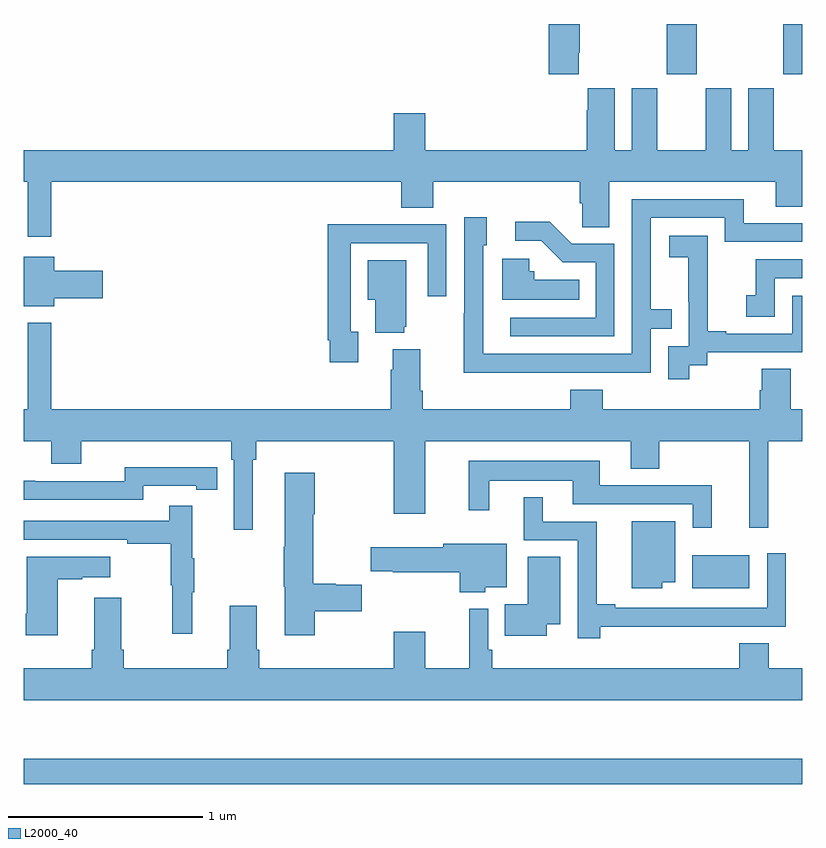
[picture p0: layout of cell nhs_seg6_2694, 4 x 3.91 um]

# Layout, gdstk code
import gdstk
lib = gdstk.Library(unit=1e-6, precision=1e-09)
def R(c, l, rs):  # rectangles x0, y0, x1, y1
    for r in rs: c.add(gdstk.rectangle(r[:2], r[2:], *l))
def P(c, l, *ps):  # polygons
    for p in ps: c.add(gdstk.Polygon(p, *l))
L2000_40 = (2000, 40)

nhs_seg6_2694 = lib.new_cell('nhs_seg6_2694')
R(nhs_seg6_2694, L2000_40, [(271,925.594,275,925.723), (274.436,926.6,274.729,926.77), (274.303,929.241,274.458,929.5), (274.903,929.241,275,929.5)])
P(nhs_seg6_2694, L2000_40, [(273.853,929.353),(273.858,929.353),(273.858,929.5),(273.698,929.5),(273.698,929.241),(273.853,929.241)],
  [(271.141,928.688),(272.939,928.688),(272.939,928.555),(273.104,928.555),(273.104,928.688),(273.857,928.688),(273.857,928.579),(273.87,928.579),(273.87,928.456),(274.009,928.456),(274.009,928.688),(274.865,928.688),(274.865,928.561),(275,928.561),(275,928.852),(274.855,928.852),(274.855,929.17),(274.724,929.17),(274.724,928.852),(274.636,928.852),(274.636,929.17),(274.505,929.17),(274.505,928.852),(274.255,928.852),(274.255,929.17),(274.124,929.17),(274.124,928.852),(274.036,928.852),(274.036,929.17),(273.899,929.17),(273.899,929.057),(273.893,929.057),(273.893,928.852),(273.064,928.852),(273.064,929.041),(272.9,929.041),(272.9,928.852),(271,928.852),(271,928.688),(271.019,928.688),(271.019,928.407),(271.141,928.407)],
  [(273.725,927.708),(274.221,927.708),(274.221,927.933),(274.331,927.933),(274.331,928.034),(274.221,928.034),(274.221,928.503),(274.602,928.503),(274.602,928.38),(275,928.38),(275,928.476),(274.699,928.476),(274.699,928.599),(274.125,928.599),(274.125,927.804),(273.361,927.804),(273.361,928.016),(273.36,928.016),(273.36,928.362),(273.379,928.362),(273.379,928.507),(273.264,928.507),(273.264,928.013),(273.262,928.013),(273.262,927.707),(273.725,927.707)],
  [(274.035,928.371),(273.816,928.371),(273.703,928.484),(273.525,928.484),(273.525,928.386),(273.659,928.386),(273.77,928.275),(273.939,928.275),(273.939,927.99),(273.501,927.99),(273.501,927.894),(274.035,927.894)],
  [(272.719,927.918),(272.679,927.918),(272.679,928.374),(273.075,928.374),(273.075,928.101),(273.171,928.101),(273.171,928.47),(272.855,928.47),(272.855,928.472),(272.563,928.472),(272.563,927.874),(272.571,927.874),(272.571,927.762),(272.719,927.762)],
  [(274.42,927.745),(274.512,927.745),(274.512,927.813),(275,927.813),(275,928.104),(274.95,928.104),(274.95,927.909),(274.609,927.909),(274.609,927.922),(274.514,927.922),(274.514,928.205),(274.515,928.205),(274.515,928.411),(274.317,928.411),(274.317,928.301),(274.415,928.301),(274.415,928.073),(274.416,928.073),(274.416,927.843),(274.311,927.843),(274.311,927.675),(274.42,927.675)],
  [(271.156,928.091),(271.405,928.091),(271.405,928.233),(271.156,928.233),(271.156,928.303),(271,928.303),(271,928.049),(271.156,928.049)],
  [(273.854,928.186),(273.624,928.186),(273.624,928.23),(273.597,928.23),(273.597,928.294),(273.458,928.294),(273.458,928.082),(273.854,928.082)],
  [(274.86,928.194),(275,928.194),(275,928.29),(274.762,928.29),(274.762,928.105),(274.713,928.105),(274.713,927.996),(274.86,927.996)],
  [(272.954,927.945),(272.965,927.945),(272.965,928.285),(272.768,928.285),(272.768,928.082),(272.807,928.082),(272.807,927.914),(272.954,927.914)],
  [(271.141,927.964),(271.019,927.964),(271.019,927.52),(271,927.52),(271,927.356),(271.142,927.356),(271.142,927.239),(271.294,927.239),(271.294,927.356),(272.066,927.356),(272.066,927.26),(272.079,927.26),(272.079,926.901),(272.176,926.901),(272.176,927.26),(272.195,927.26),(272.195,927.356),(272.9,927.356),(272.9,926.982),(273.064,926.982),(273.064,927.356),(274.118,927.356),(274.118,927.214),(274.266,927.214),(274.266,927.356),(274.727,927.356),(274.727,926.91),(274.826,926.91),(274.826,927.356),(275,927.356),(275,927.52),(274.941,927.52),(274.941,927.728),(274.793,927.728),(274.793,927.618),(274.781,927.618),(274.781,927.52),(273.974,927.52),(273.974,927.619),(273.809,927.619),(273.809,927.52),(273.05,927.52),(273.05,927.616),(273.037,927.616),(273.037,927.829),(272.897,927.829),(272.897,927.722),(272.885,927.722),(272.885,927.52),(271.141,927.52)],
  [(274.535,927.129),(273.961,927.129),(273.961,927.256),(273.287,927.256),(273.287,927),(273.391,927),(273.391,927.152),(273.821,927.152),(273.821,927.033),(274.437,927.033),(274.437,926.91),(274.535,926.91)],
  [(271.614,927.126),(271.886,927.126),(271.886,927.106),(271.994,927.106),(271.994,927.222),(271.886,927.222),(271.886,927.223),(271.518,927.223),(271.518,927.15),(271.058,927.15),(271.058,927.152),(271,927.152),(271,927.054),(271.614,927.054)],
  [(272.496,926.482),(272.737,926.482),(272.737,926.617),(272.604,926.617),(272.604,926.624),(272.488,926.624),(272.488,926.98),(272.496,926.98),(272.496,927.193),(272.342,927.193),(272.342,926.813),(272.335,926.813),(272.335,926.607),(272.342,926.607),(272.342,926.358),(272.496,926.358)],
  [(273.962,926.402),(274.592,926.402),(274.592,926.403),(274.917,926.403),(274.917,926.779),(274.821,926.779),(274.821,926.499),(274.039,926.499),(274.039,926.519),(273.944,926.519),(273.944,926.943),(273.667,926.943),(273.667,927.067),(273.569,927.067),(273.569,926.847),(273.846,926.847),(273.846,926.343),(273.962,926.343)],
  [(271.865,926.579),(271.876,926.579),(271.876,926.753),(271.865,926.753),(271.865,927.025),(271.747,927.025),(271.747,926.946),(271,926.946),(271,926.85),(271.531,926.85),(271.531,926.83),(271.755,926.83),(271.755,926.616),(271.762,926.616),(271.762,926.367),(271.865,926.367)],
  [(274.282,926.63),(274.348,926.63),(274.348,926.944),(274.124,926.944),(274.124,926.6),(274.282,926.6)],
  [(273.372,926.606),(273.481,926.606),(273.481,926.83),(273.155,926.83),(273.155,926.812),(272.784,926.812),(272.784,926.687),(272.896,926.687),(272.896,926.683),(273.239,926.683),(273.239,926.579),(273.372,926.579)],
  [(273.688,926.414),(273.757,926.414),(273.757,926.762),(273.59,926.762),(273.59,926.518),(273.472,926.518),(273.472,926.357),(273.688,926.357)],
  [(271.174,926.647),(271.301,926.647),(271.301,926.657),(271.444,926.657),(271.444,926.761),(271.016,926.761),(271.016,926.47),(271.009,926.47),(271.009,926.358),(271.174,926.358)],
  [(275,926.188),(274.828,926.188),(274.828,926.318),(274.676,926.318),(274.676,926.188),(273.407,926.188),(273.407,926.284),(273.387,926.284),(273.387,926.494),(273.289,926.494),(273.289,926.188),(273.064,926.188),(273.064,926.377),(272.9,926.377),(272.9,926.188),(272.21,926.188),(272.21,926.284),(272.197,926.284),(272.197,926.509),(272.057,926.509),(272.057,926.284),(272.045,926.284),(272.045,926.188),(271.514,926.188),(271.514,926.284),(271.501,926.284),(271.501,926.551),(271.361,926.551),(271.361,926.284),(271.349,926.284),(271.349,926.188),(271,926.188),(271,926.024),(275,926.024)])

lib.write_gds('nhs_seg6_2694.gds')
